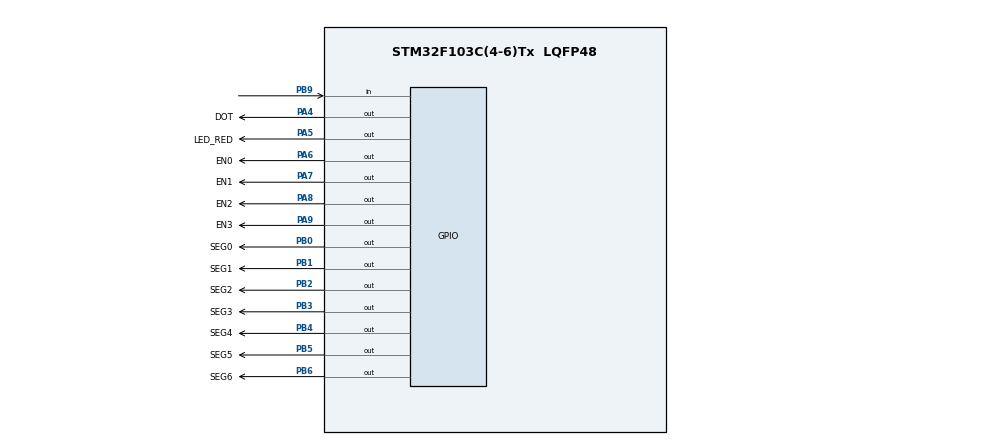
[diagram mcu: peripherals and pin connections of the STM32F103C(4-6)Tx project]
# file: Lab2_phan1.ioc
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Mcu.Family=STM32F1
Mcu.Name=STM32F103C(4-6)Tx
Mcu.Package=LQFP48
NVIC.PriorityGroup=NVIC_PRIORITYGROUP_4
NVIC.TIM2_IRQn=true\:0\:0\:false\:false\:true\:true\:true\:true
PA4.GPIO_Label=DOT
PA4.Signal=GPIO_Output
PA5.GPIO_Label=LED_RED
PA5.Signal=GPIO_Output
PA6.GPIO_Label=EN0
PA6.Signal=GPIO_Output
PA7.GPIO_Label=EN1
PA7.Signal=GPIO_Output
PA8.GPIO_Label=EN2
PA8.Signal=GPIO_Output
PA9.GPIO_Label=EN3
PA9.Signal=GPIO_Output
PB0.GPIO_Label=SEG0
PB0.Signal=GPIO_Output
PB1.GPIO_Label=SEG1
PB1.Signal=GPIO_Output
PB2.GPIO_Label=SEG2
PB2.Signal=GPIO_Output
PB3.GPIO_Label=SEG3
PB3.Signal=GPIO_Output
PB4.GPIO_Label=SEG4
PB4.Signal=GPIO_Output
PB5.GPIO_Label=SEG5
PB5.Signal=GPIO_Output
PB6.GPIO_Label=SEG6
PB6.Signal=GPIO_Output
PB9.Signal=GPIO_Input
ProjectManager.HeapSize=0x200
ProjectManager.StackSize=0x400
ProjectManager.TargetToolchain=STM32CubeIDE
RCC.APB1Freq_Value=8000000
RCC.APB2Freq_Value=8000000
TIM2.Period=9
TIM2.Prescaler=7999
VP_SYS_VS_ND.Mode=No_Debug
VP_TIM2_VS_ClockSourceINT.Mode=Internal
board=custom

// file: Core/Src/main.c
/* USER CODE BEGIN Header */
/**
  ******************************************************************************
  * @file           : main.c
  * @brief          : Main program body
  ******************************************************************************
  * @attention
  *
  * Copyright (c) 2024 STMicroelectronics.
  * All rights reserved.
  *
  * This software is licensed under terms that can be found in the LICENSE file
  * in the root directory of this software component.
  * If no LICENSE file comes with this software, it is provided AS-IS.
  *
  ******************************************************************************
  */
/* USER CODE END Header */
#include "main.h"

/* USER CODE BEGIN Includes */
#include "software_timer.h"
/* USER CODE END Includes */

TIM_HandleTypeDef htim2;

void SystemClock_Config(void);
static void MX_GPIO_Init(void);
static void MX_TIM2_Init(void);

int main(void)
{

  /* USER CODE BEGIN 1 */
	void display7SEG(int num) {
		const int led_on = 0;
		const int led_off = 1;
		HAL_GPIO_WritePin(SEG0_GPIO_Port, SEG0_Pin, led_off);
		HAL_GPIO_WritePin(SEG1_GPIO_Port, SEG1_Pin, led_off);
		HAL_GPIO_WritePin(SEG2_GPIO_Port, SEG2_Pin, led_off);
		HAL_GPIO_WritePin(SEG3_GPIO_Port, SEG3_Pin, led_off);
		HAL_GPIO_WritePin(SEG4_GPIO_Port, SEG4_Pin, led_off);
		HAL_GPIO_WritePin(SEG5_GPIO_Port, SEG5_Pin, led_off);
		HAL_GPIO_WritePin(SEG6_GPIO_Port, SEG6_Pin, led_off);
		switch (num) {
			case 0:
				HAL_GPIO_WritePin(SEG0_GPIO_Port, SEG0_Pin, led_on);
				HAL_GPIO_WritePin(SEG1_GPIO_Port, SEG1_Pin, led_on);
				HAL_GPIO_WritePin(SEG2_GPIO_Port, SEG2_Pin, led_on);
				HAL_GPIO_WritePin(SEG3_GPIO_Port, SEG3_Pin, led_on);
				HAL_GPIO_WritePin(SEG4_GPIO_Port, SEG4_Pin, led_on);
				HAL_GPIO_WritePin(SEG5_GPIO_Port, SEG5_Pin, led_on);
				HAL_GPIO_WritePin(SEG6_GPIO_Port, SEG6_Pin, led_off);
				break;
			case 1:
				HAL_GPIO_WritePin(SEG1_GPIO_Port, SEG1_Pin, led_on);
				HAL_GPIO_WritePin(SEG2_GPIO_Port, SEG2_Pin, led_on);
				break;
			case 2:
				HAL_GPIO_WritePin(SEG0_GPIO_Port, SEG0_Pin, led_on);
				HAL_GPIO_WritePin(SEG1_GPIO_Port, SEG1_Pin, led_on);
				HAL_GPIO_WritePin(SEG3_GPIO_Port, SEG3_Pin, led_on);
				HAL_GPIO_WritePin(SEG4_GPIO_Port, SEG4_Pin, led_on);
				HAL_GPIO_WritePin(SEG6_GPIO_Port, SEG6_Pin, led_on);
				break;
			case 3:
				HAL_GPIO_WritePin(SEG0_GPIO_Port, SEG0_Pin, led_on);
				HAL_GPIO_WritePin(SEG1_GPIO_Port, SEG1_Pin, led_on);
				HAL_GPIO_WritePin(SEG2_GPIO_Port, SEG2_Pin, led_on);
				HAL_GPIO_WritePin(SEG3_GPIO_Port, SEG3_Pin, led_on);
				HAL_GPIO_WritePin(SEG6_GPIO_Port, SEG6_Pin, led_on);
				break;
			case 4:
				HAL_GPIO_WritePin(SEG1_GPIO_Port, SEG1_Pin, led_on);
				HAL_GPIO_WritePin(SEG2_GPIO_Port, SEG2_Pin, led_on);
				HAL_GPIO_WritePin(SEG5_GPIO_Port, SEG5_Pin, led_on);
				HAL_GPIO_WritePin(SEG6_GPIO_Port, SEG6_Pin, led_on);
				break;
			case 5:
				HAL_GPIO_WritePin(SEG0_GPIO_Port, SEG0_Pin, led_on);
				HAL_GPIO_WritePin(SEG2_GPIO_Port, SEG2_Pin, led_on);
				HAL_GPIO_WritePin(SEG3_GPIO_Port, SEG3_Pin, led_on);
				HAL_GPIO_WritePin(SEG5_GPIO_Port, SEG5_Pin, led_on);
				HAL_GPIO_WritePin(SEG6_GPIO_Port, SEG6_Pin, led_on);
				break;
			case 6:
				HAL_GPIO_WritePin(SEG0_GPIO_Port, SEG0_Pin, led_on);
				HAL_GPIO_WritePin(SEG2_GPIO_Port, SEG2_Pin, led_on);
				HAL_GPIO_WritePin(SEG3_GPIO_Port, SEG3_Pin, led_on);
				HAL_GPIO_WritePin(SEG4_GPIO_Port, SEG4_Pin, led_on);
				HAL_GPIO_WritePin(SEG5_GPIO_Port, SEG5_Pin, led_on);
				HAL_GPIO_WritePin(SEG6_GPIO_Port, SEG6_Pin, led_on);
				break;
			case 7:
				HAL_GPIO_WritePin(SEG0_GPIO_Port, SEG0_Pin, led_on);
				HAL_GPIO_WritePin(SEG1_GPIO_Port, SEG1_Pin, led_on);
				HAL_GPIO_WritePin(SEG2_GPIO_Port, SEG2_Pin, led_on);
				break;
			case 8:
				HAL_GPIO_WritePin(SEG0_GPIO_Port, SEG0_Pin, led_on);
				HAL_GPIO_WritePin(SEG1_GPIO_Port, SEG1_Pin, led_on);
				HAL_GPIO_WritePin(SEG2_GPIO_Port, SEG2_Pin, led_on);
				HAL_GPIO_WritePin(SEG3_GPIO_Port, SEG3_Pin, led_on);
				HAL_GPIO_WritePin(SEG4_GPIO_Port, SEG4_Pin, led_on);
				HAL_GPIO_WritePin(SEG5_GPIO_Port, SEG5_Pin, led_on);
				HAL_GPIO_WritePin(SEG6_GPIO_Port, SEG6_Pin, led_on);
				break;
			case 9:
				HAL_GPIO_WritePin(SEG0_GPIO_Port, SEG0_Pin, led_on);
				HAL_GPIO_WritePin(SEG1_GPIO_Port, SEG1_Pin, led_on);
				HAL_GPIO_WritePin(SEG2_GPIO_Port, SEG2_Pin, led_on);
				HAL_GPIO_WritePin(SEG3_GPIO_Port, SEG3_Pin, led_on);
				HAL_GPIO_WritePin(SEG5_GPIO_Port, SEG5_Pin, led_on);
				HAL_GPIO_WritePin(SEG6_GPIO_Port, SEG6_Pin, led_on);
				break;
			default:
				break;
		}
	}
  /* USER CODE END 1 */

  /* MCU Configuration--------------------------------------------------------*/

  /* Reset of all peripherals, Initializes the Flash interface and the Systick. */
  HAL_Init();

  /* Configure the system clock */
  SystemClock_Config();

  /* Initialize all configured peripherals */
  MX_GPIO_Init();
  MX_TIM2_Init();
  /* USER CODE BEGIN 2 */
  HAL_TIM_Base_Start_IT(&htim2);
  /* USER CODE END 2 */
  /* Infinite loop */
  /* USER CODE BEGIN WHILE */
  const int MAX_LED = 4;
  int index_led = 0;
  int led_buffer[4] = {1, 2, 3, 4};
  int hour = 15, minute = 8, second = 55;
  int clock_buffer[4] = {1, 5, 0, 8};
  int SEG1_status = 0;
  int SEG2_status = 1;
  int SEG3_status = 1;
  int SEG4_status = 1;
  int DOT_status = 0;
  void update7SEG(int index){
  	switch(index){
  		case 0:
  			display7SEG(led_buffer[0]);
  			break;
  		case 1:
  			display7SEG(led_buffer[1]);
  			break;
  		case 2:
  			display7SEG(led_buffer[2]);
  			break;
  		case 3:
  			display7SEG(led_buffer[3]);
  			break;
  		default:
  			break;
  	}
  }
  void updateClockBuffer(int index){
    	switch(index){
    		case 0:
    			display7SEG(clock_buffer[0]);
    			break;
    		case 1:
    			display7SEG(clock_buffer[1]);
    			break;
    		case 2:
    			display7SEG(clock_buffer[2]);
    			break;
    		case 3:
    			display7SEG(clock_buffer[3]);
    			break;
    		default:
    			break;
    	}
    }
  void exercise12(){
	HAL_GPIO_WritePin(EN0_GPIO_Port, EN0_Pin, SEG1_status);
	HAL_GPIO_WritePin(EN1_GPIO_Port, EN1_Pin, SEG2_status);
	HAL_GPIO_WritePin(EN2_GPIO_Port, EN2_Pin, SEG3_status);
	HAL_GPIO_WritePin(EN3_GPIO_Port, EN3_Pin, SEG4_status);

	if (SEG1_status == 0){
		display7SEG(1);
		SEG1_status = 1 - SEG1_status;
		SEG2_status = 1 - SEG2_status;
	}
	else if (SEG2_status == 0){
		display7SEG(2);
		SEG2_status = 1 - SEG2_status;
		SEG3_status = 1 - SEG3_status;
	}
	else if (SEG3_status == 0){
		display7SEG(3);
		SEG3_status = 1 - SEG3_status;
		SEG4_status = 1 - SEG4_status;
	}
	else if (SEG4_status == 0){
		display7SEG(0);
		SEG1_status = 1 - SEG1_status;
		SEG4_status = 1 - SEG4_status;
	}

	updateClockBuffer(index_led);
  index_led = (index_led + 1)%MAX_LED;
}
  void exercise3(){
	  update7SEG(index_led);
	  index_led = (index_led + 1)%MAX_LED;
  }
  void Blinky_DOT(){
	  HAL_GPIO_TogglePin(DOT_GPIO_Port, DOT_Pin);
  }
  void HelpUpdateClockBuffer(){
	  clock_buffer[0] = hour/10;
	  clock_buffer[1] = hour%10;
	  clock_buffer[2] = minute/10;
	  clock_buffer[3] = minute%10;
  }
  void exercise5(){
	  second++;
	  if (second >= 60){
		  second = 0;
		  minute++;
	  }
	  if (minute >= 60){
		  minute = 0;
		  hour++;
	  }
	  if (hour >= 24){
		  hour = 0;
	  }
	  HelpUpdateClockBuffer();
  }
  setTimer1(25);
  setTimer2(100);
  setTimer3(100);
  while (1)
  {
	  if (timer1_flag == 1){
		  setTimer1(25);
//		  TODO
		  exercise12();

	  }
	  if (timer2_flag == 1){
		  setTimer2(100);
//		  TODO
		  Blinky_DOT();
	  }

	  if (timer3_flag == 1){
		  setTimer3(100);
//		  TODO
		  exercise5();
	  }
    /* USER CODE END WHILE */

  }
}

void SystemClock_Config(void)
{
  RCC_OscInitTypeDef RCC_OscInitStruct = {0};
  RCC_ClkInitTypeDef RCC_ClkInitStruct = {0};

  /** Initializes the RCC Oscillators according to the specified parameters
  * in the RCC_OscInitTypeDef structure.
  */
  RCC_OscInitStruct.OscillatorType = RCC_OSCILLATORTYPE_HSI;
  RCC_OscInitStruct.HSIState = RCC_HSI_ON;
  RCC_OscInitStruct.HSICalibrationValue = RCC_HSICALIBRATION_DEFAULT;
  RCC_OscInitStruct.PLL.PLLState = RCC_PLL_NONE;
  if (HAL_RCC_OscConfig(&RCC_OscInitStruct) != HAL_OK)
  {
    Error_Handler();
  }

  /** Initializes the CPU, AHB and APB buses clocks
  */
  RCC_ClkInitStruct.ClockType = RCC_CLOCKTYPE_HCLK|RCC_CLOCKTYPE_SYSCLK
                              |RCC_CLOCKTYPE_PCLK1|RCC_CLOCKTYPE_PCLK2;
  RCC_ClkInitStruct.SYSCLKSource = RCC_SYSCLKSOURCE_HSI;
  RCC_ClkInitStruct.AHBCLKDivider = RCC_SYSCLK_DIV1;
  RCC_ClkInitStruct.APB1CLKDivider = RCC_HCLK_DIV1;
  RCC_ClkInitStruct.APB2CLKDivider = RCC_HCLK_DIV1;

  if (HAL_RCC_ClockConfig(&RCC_ClkInitStruct, FLASH_LATENCY_0) != HAL_OK)
  {
    Error_Handler();
  }
}

static void MX_TIM2_Init(void)
{

  TIM_ClockConfigTypeDef sClockSourceConfig = {0};
  TIM_MasterConfigTypeDef sMasterConfig = {0};

  htim2.Instance = TIM2;
  htim2.Init.Prescaler = 7999;
  htim2.Init.CounterMode = TIM_COUNTERMODE_UP;
  htim2.Init.Period = 9;
  htim2.Init.ClockDivision = TIM_CLOCKDIVISION_DIV1;
  htim2.Init.AutoReloadPreload = TIM_AUTORELOAD_PRELOAD_DISABLE;
  if (HAL_TIM_Base_Init(&htim2) != HAL_OK)
  {
    Error_Handler();
  }
  sClockSourceConfig.ClockSource = TIM_CLOCKSOURCE_INTERNAL;
  if (HAL_TIM_ConfigClockSource(&htim2, &sClockSourceConfig) != HAL_OK)
  {
    Error_Handler();
  }
  sMasterConfig.MasterOutputTrigger = TIM_TRGO_RESET;
  sMasterConfig.MasterSlaveMode = TIM_MASTERSLAVEMODE_DISABLE;
  if (HAL_TIMEx_MasterConfigSynchronization(&htim2, &sMasterConfig) != HAL_OK)
  {
    Error_Handler();
  }

}

static void MX_GPIO_Init(void)
{
  GPIO_InitTypeDef GPIO_InitStruct = {0};

  /* GPIO Ports Clock Enable */
  __HAL_RCC_GPIOA_CLK_ENABLE();
  __HAL_RCC_GPIOB_CLK_ENABLE();

  /*Configure GPIO pin Output Level */
  HAL_GPIO_WritePin(GPIOA, DOT_Pin|LED_RED_Pin|EN0_Pin|EN1_Pin
                          |EN2_Pin|EN3_Pin, GPIO_PIN_RESET);

  /*Configure GPIO pin Output Level */
  HAL_GPIO_WritePin(GPIOB, SEG0_Pin|SEG1_Pin|SEG2_Pin|SEG3_Pin
                          |SEG4_Pin|SEG5_Pin|SEG6_Pin, GPIO_PIN_RESET);

  /*Configure GPIO pins : DOT_Pin LED_RED_Pin EN0_Pin EN1_Pin
                           EN2_Pin EN3_Pin */
  GPIO_InitStruct.Pin = DOT_Pin|LED_RED_Pin|EN0_Pin|EN1_Pin
                          |EN2_Pin|EN3_Pin;
  GPIO_InitStruct.Mode = GPIO_MODE_OUTPUT_PP;
  GPIO_InitStruct.Pull = GPIO_NOPULL;
  GPIO_InitStruct.Speed = GPIO_SPEED_FREQ_LOW;
  HAL_GPIO_Init(GPIOA, &GPIO_InitStruct);

  /*Configure GPIO pins : SEG0_Pin SEG1_Pin SEG2_Pin SEG3_Pin
                           SEG4_Pin SEG5_Pin SEG6_Pin */
  GPIO_InitStruct.Pin = SEG0_Pin|SEG1_Pin|SEG2_Pin|SEG3_Pin
                          |SEG4_Pin|SEG5_Pin|SEG6_Pin;
  GPIO_InitStruct.Mode = GPIO_MODE_OUTPUT_PP;
  GPIO_InitStruct.Pull = GPIO_NOPULL;
  GPIO_InitStruct.Speed = GPIO_SPEED_FREQ_LOW;
  HAL_GPIO_Init(GPIOB, &GPIO_InitStruct);

  /*Configure GPIO pin : PB9 */
  GPIO_InitStruct.Pin = GPIO_PIN_9;
  GPIO_InitStruct.Mode = GPIO_MODE_INPUT;
  GPIO_InitStruct.Pull = GPIO_NOPULL;
  HAL_GPIO_Init(GPIOB, &GPIO_InitStruct);

}

/* USER CODE BEGIN 4 */

void HAL_TIM_PeriodElapsedCallback(TIM_HandleTypeDef *htim){
//	exercise12();
//	update7SEG(index_led++);'
	timerRun();
}

/* USER CODE END 4 */

void Error_Handler(void)
{
  __disable_irq();
  while (1)
  {
  }
}
